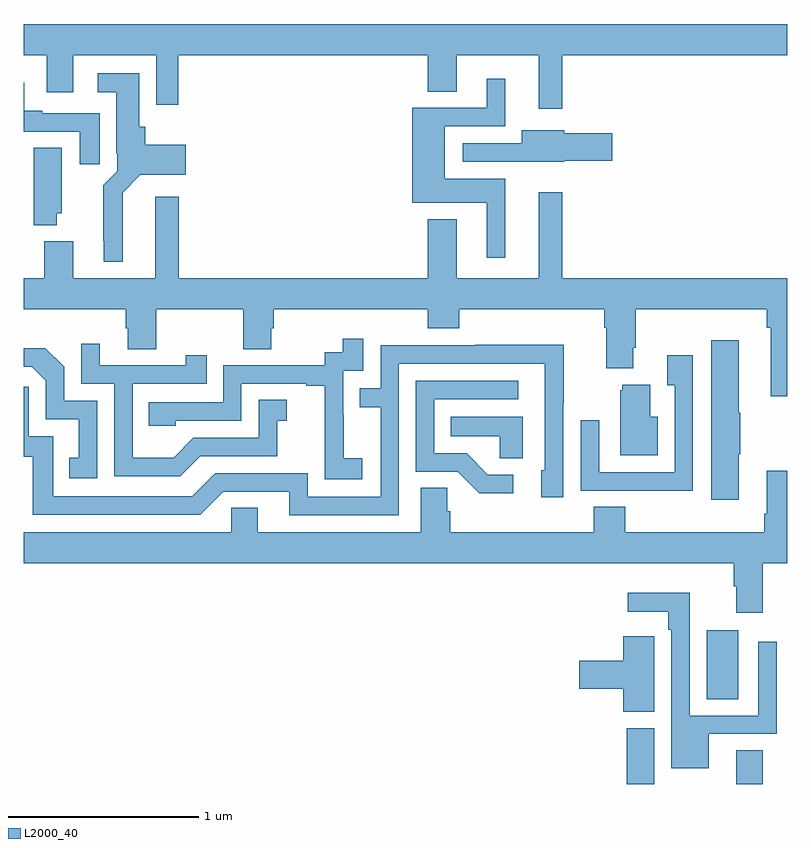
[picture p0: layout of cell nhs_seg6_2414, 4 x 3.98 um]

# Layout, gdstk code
import gdstk
lib = gdstk.Library(unit=1e-6, precision=1e-09)
def R(c, l, rs):  # rectangles x0, y0, x1, y1
    for r in rs: c.add(gdstk.rectangle(r[:2], r[2:], *l))
def P(c, l, *ps):  # polygons
    for p in ps: c.add(gdstk.Polygon(p, *l))
L2000_40 = (2000, 40)

nhs_seg6_2414 = lib.new_cell('nhs_seg6_2414')
R(nhs_seg6_2414, L2000_40, [(258.161,959.5,258.304,959.793), (258.734,959.5,258.874,959.678), (258.578,959.944,258.745,960.307)])
P(nhs_seg6_2414, L2000_40, [(257.821,963.32),(259,963.32),(259,963.484),(255,963.484),(255,963.32),(255.119,963.32),(255.119,963.126),(255.259,963.126),(255.259,963.32),(255.693,963.32),(255.693,963.06),(255.809,963.06),(255.809,963.32),(257.117,963.32),(257.117,963.13),(257.269,963.13),(257.269,963.32),(257.699,963.32),(257.699,963.039),(257.821,963.039)],
  [(255.517,962.6),(255.609,962.693),(255.847,962.693),(255.847,962.851),(255.635,962.851),(255.635,962.946),(255.604,962.946),(255.604,963.226),(255.387,963.226),(255.387,963.125),(255.485,963.125),(255.485,962.806),(255.489,962.806),(255.489,962.712),(255.415,962.638),(255.415,962.347),(255.419,962.347),(255.419,962.237),(255.517,962.237)],
  [(257.524,962.674),(257.206,962.674),(257.206,962.949),(257.524,962.949),(257.524,963.196),(257.426,963.196),(257.426,963.045),(257.036,963.045),(257.036,962.546),(257.426,962.546),(257.426,962.259),(257.524,962.259)],
  [(255.397,963.015),(255.097,963.015),(255.097,963.028),(255.001,963.028),(255.001,963.175),(255,963.175),(255,962.919),(255.293,962.919),(255.293,962.748),(255.397,962.748)],
  [(257.832,962.768),(258.085,962.768),(258.085,962.91),(257.832,962.91),(257.832,962.926),(257.609,962.926),(257.609,962.859),(257.301,962.859),(257.301,962.763),(257.613,962.763),(257.613,962.762),(257.832,962.762)],
  [(255.172,962.493),(255.199,962.493),(255.199,962.834),(255.05,962.834),(255.05,962.429),(255.172,962.429)],
  [(257.821,962.602),(257.699,962.602),(257.699,962.152),(257.269,962.152),(257.269,962.461),(257.117,962.461),(257.117,962.152),(255.812,962.152),(255.812,962.578),(255.689,962.578),(255.689,962.152),(255.259,962.152),(255.259,962.344),(255.107,962.344),(255.107,962.152),(255,962.152),(255,961.988),(255.533,961.988),(255.533,961.89),(255.545,961.89),(255.545,961.78),(255.693,961.78),(255.693,961.988),(256.15,961.988),(256.15,961.78),(256.297,961.78),(256.297,961.89),(256.31,961.89),(256.31,961.988),(257.117,961.988),(257.117,961.889),(257.282,961.889),(257.282,961.988),(258.041,961.988),(258.041,961.892),(258.053,961.892),(258.053,961.679),(258.193,961.679),(258.193,961.786),(258.206,961.786),(258.206,961.988),(258.895,961.988),(258.895,961.892),(258.914,961.892),(258.914,961.533),(259,961.533),(259,962.152),(257.821,962.152)],
  [(256.774,961.207),(256.676,961.207),(256.676,961.436),(256.674,961.436),(256.674,961.665),(256.779,961.665),(256.779,961.834),(256.671,961.834),(256.671,961.764),(256.578,961.764),(256.578,961.695),(256.044,961.695),(256.044,961.5),(255.655,961.5),(255.655,961.377),(255.795,961.377),(255.795,961.404),(256.14,961.404),(256.14,961.599),(256.481,961.599),(256.481,961.587),(256.577,961.587),(256.577,961.303),(256.576,961.303),(256.576,961.097),(256.774,961.097)],
  [(258.748,961.228),(258.756,961.228),(258.756,961.445),(258.748,961.445),(258.748,961.825),(258.602,961.825),(258.602,960.99),(258.748,960.99)],
  [(255.925,961.218),(256.329,961.218),(256.329,961.403),(256.378,961.403),(256.378,961.513),(256.23,961.513),(256.23,961.314),(255.888,961.314),(255.784,961.21),(255.57,961.21),(255.57,961.599),(255.959,961.599),(255.959,961.747),(255.848,961.747),(255.848,961.695),(255.397,961.695),(255.397,961.807),(255.3,961.807),(255.3,961.599),(255.474,961.599),(255.474,961.113),(255.82,961.113)],
  [(256.965,961.704),(257.73,961.704),(257.73,961.146),(257.711,961.146),(257.711,961.002),(257.826,961.002),(257.826,961.495),(257.829,961.495),(257.829,961.802),(257.365,961.802),(257.365,961.8),(256.869,961.8),(256.869,961.575),(256.759,961.575),(256.759,961.474),(256.869,961.474),(256.869,961.005),(256.488,961.005),(256.488,961.128),(256.002,961.128),(255.882,961.008),(255.153,961.008),(255.153,961.323),(255.024,961.323),(255.024,961.582),(255,961.582),(255,961.215),(255.045,961.215),(255.045,960.912),(255.924,960.912),(256.044,961.032),(256.391,961.032),(256.391,960.909),(256.965,960.909)],
  [(255.384,961.509),(255.21,961.509),(255.21,961.686),(255.112,961.784),(255,961.784),(255,961.686),(255.042,961.686),(255.114,961.614),(255.114,961.413),(255.287,961.413),(255.287,961.209),(255.238,961.209),(255.238,961.104),(255.384,961.104)],
  [(258.507,961.747),(258.371,961.747),(258.371,961.591),(258.411,961.591),(258.411,961.134),(258.015,961.134),(258.015,961.408),(257.919,961.408),(257.919,961.038),(258.235,961.038),(258.235,961.037),(258.507,961.037)],
  [(257.566,961.122),(257.431,961.122),(257.32,961.233),(257.151,961.233),(257.151,961.518),(257.59,961.518),(257.59,961.614),(257.055,961.614),(257.055,961.137),(257.274,961.137),(257.387,961.025),(257.566,961.025)],
  [(258.322,961.426),(258.283,961.426),(258.283,961.594),(258.137,961.594),(258.137,961.563),(258.125,961.563),(258.125,961.223),(258.322,961.223)],
  [(257.614,961.426),(257.236,961.426),(257.236,961.322),(257.493,961.322),(257.493,961.207),(257.614,961.207)],
  [(258.152,960.953),(257.987,960.953),(257.987,960.82),(257.234,960.82),(257.234,960.929),(257.22,960.929),(257.22,961.052),(257.081,961.052),(257.081,960.82),(256.225,960.82),(256.225,960.947),(256.086,960.947),(256.086,960.82),(255,960.82),(255,960.656),(258.722,960.656),(258.722,960.536),(258.734,960.536),(258.734,960.399),(258.874,960.399),(258.874,960.656),(259,960.656),(259,961.141),(258.893,961.141),(258.893,960.916),(258.881,960.916),(258.881,960.82),(258.152,960.82)],
  [(258.589,959.763),(258.945,959.763),(258.945,960.247),(258.849,960.247),(258.849,959.859),(258.489,959.859),(258.489,960.502),(258.165,960.502),(258.165,960.404),(258.377,960.404),(258.377,960.308),(258.393,960.308),(258.393,959.582),(258.589,959.582)],
  [(258.304,960.161),(258.303,960.161),(258.303,960.274),(258.142,960.274),(258.142,960.146),(257.91,960.146),(257.91,959.999),(258.142,959.999),(258.142,959.878),(258.304,959.878)])

lib.write_gds('nhs_seg6_2414.gds')
